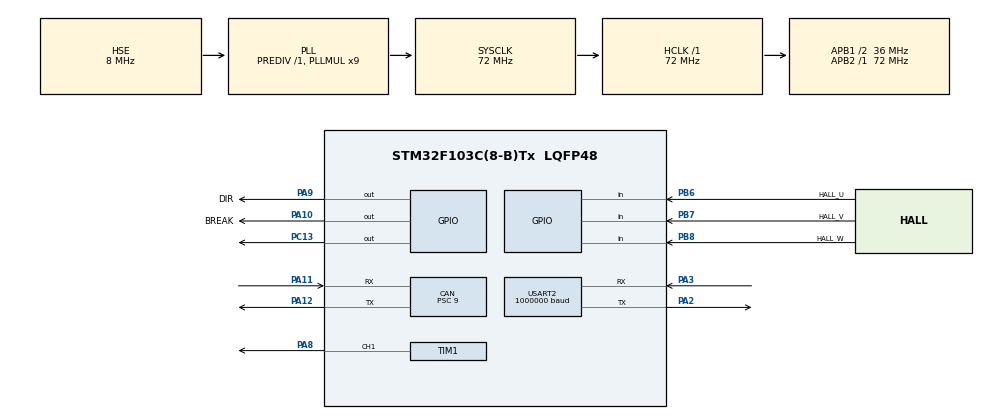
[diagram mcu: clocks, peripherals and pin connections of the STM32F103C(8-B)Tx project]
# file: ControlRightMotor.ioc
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CAN.ABOM=DISABLE
CAN.AWUM=DISABLE
CAN.BS1=CAN_BS1_2TQ
CAN.CalculateBaudRate=1000000
CAN.CalculateTimeBit=1000
CAN.CalculateTimeQuantum=250.0
CAN.Prescaler=9
Dma.Request0=USART2_RX
Dma.Request1=USART2_TX
Dma.USART2_RX.0.Direction=DMA_PERIPH_TO_MEMORY
Dma.USART2_RX.0.Instance=DMA1_Channel6
Dma.USART2_RX.0.MemDataAlignment=DMA_MDATAALIGN_BYTE
Dma.USART2_RX.0.MemInc=DMA_MINC_ENABLE
Dma.USART2_RX.0.Mode=DMA_NORMAL
Dma.USART2_RX.0.PeriphDataAlignment=DMA_PDATAALIGN_BYTE
Dma.USART2_RX.0.PeriphInc=DMA_PINC_DISABLE
Dma.USART2_RX.0.Priority=DMA_PRIORITY_MEDIUM
Dma.USART2_TX.1.Direction=DMA_MEMORY_TO_PERIPH
Dma.USART2_TX.1.Instance=DMA1_Channel7
Dma.USART2_TX.1.MemDataAlignment=DMA_MDATAALIGN_BYTE
Dma.USART2_TX.1.MemInc=DMA_MINC_ENABLE
Dma.USART2_TX.1.Mode=DMA_NORMAL
Dma.USART2_TX.1.PeriphDataAlignment=DMA_PDATAALIGN_BYTE
Dma.USART2_TX.1.PeriphInc=DMA_PINC_DISABLE
Dma.USART2_TX.1.Priority=DMA_PRIORITY_HIGH
FREERTOS.Tasks01=defaultTask,24,128,StartDefaultTask,Default,NULL,Dynamic,NULL,NULL;TaskReceiveCAN,48,128,ReceiveCAN,Default,NULL,Dynamic,NULL,NULL;TaskMControl,24,128,MotorControl,Default,NULL,Dynamic,NULL,NULL;TaskReadHall,48,128,ReadHall,Default,NULL,Dynamic,NULL,NULL
Mcu.Family=STM32F1
Mcu.Name=STM32F103C(8-B)Tx
Mcu.Package=LQFP48
NVIC.DMA1_Channel6_IRQn=true\:5\:0\:false\:false\:true\:true\:false\:true\:true
NVIC.DMA1_Channel7_IRQn=true\:5\:0\:false\:false\:true\:true\:false\:true\:true
NVIC.PriorityGroup=NVIC_PRIORITYGROUP_4
NVIC.USART2_IRQn=true\:5\:0\:false\:false\:true\:true\:true\:true\:true
NVIC.USB_LP_CAN1_RX0_IRQn=true\:5\:0\:false\:false\:true\:true\:true\:true\:true
PA10.GPIO_Label=BREAK
PA10.GPIO_Speed=GPIO_SPEED_FREQ_HIGH
PA10.PinState=GPIO_PIN_SET
PA10.Signal=GPIO_Output
PA11.GPIO_PuPd=GPIO_PULLUP
PA11.Mode=CAN_Activate
PA11.Signal=CAN_RX
PA12.Mode=CAN_Activate
PA12.Signal=CAN_TX
PA13.Mode=Serial_Wire
PA13.Signal=SYS_JTMS-SWDIO
PA14.Mode=Serial_Wire
PA14.Signal=SYS_JTCK-SWCLK
PA2.Mode=Asynchronous
PA2.Signal=USART2_TX
PA3.Mode=Asynchronous
PA3.Signal=USART2_RX
PA8.Signal=S_TIM1_CH1
PA9.GPIO_Label=DIR
PA9.GPIO_Speed=GPIO_SPEED_FREQ_HIGH
PA9.PinState=GPIO_PIN_RESET
PA9.Signal=GPIO_Output
PB6.GPIO_Label=HALL_U
PB6.GPIO_PuPd=GPIO_PULLUP
PB6.Signal=GPIO_Input
PB7.GPIO_Label=HALL_V
PB7.GPIO_PuPd=GPIO_PULLUP
PB7.Signal=GPIO_Input
PB8.GPIO_Label=HALL_W
PB8.GPIO_PuPd=GPIO_PULLUP
PB8.Signal=GPIO_Input
PC13-TAMPER-RTC.Signal=GPIO_Output
PD0-OSC_IN.Mode=HSE-External-Oscillator
PD0-OSC_IN.Signal=RCC_OSC_IN
PD1-OSC_OUT.Mode=HSE-External-Oscillator
PD1-OSC_OUT.Signal=RCC_OSC_OUT
ProjectManager.HeapSize=0x200
ProjectManager.StackSize=0x400
ProjectManager.TargetToolchain=MDK-ARM V5.32
RCC.AHBFreq_Value=72000000
RCC.APB1CLKDivider=RCC_HCLK_DIV2
RCC.APB1Freq_Value=36000000
RCC.APB1TimFreq_Value=72000000
RCC.APB2Freq_Value=72000000
RCC.APB2TimFreq_Value=72000000
RCC.HCLKFreq_Value=72000000
RCC.PLLMUL=RCC_PLL_MUL9
RCC.PLLSourceVirtual=RCC_PLLSOURCE_HSE
RCC.SYSCLKFreq_VALUE=72000000
RCC.SYSCLKSource=RCC_SYSCLKSOURCE_PLLCLK
RCC.USBFreq_Value=72000000
SH.S_TIM1_CH1.0=TIM1_CH1,PWM Generation1 CH1
TIM1.Channel-PWM\ Generation1\ CH1=TIM_CHANNEL_1
TIM1.Period=1000-1
TIM1.Prescaler=1800-1
USART2.BaudRate=1000000
USART2.VirtualMode=VM_ASYNC
VP_FREERTOS_VS_CMSIS_V2.Mode=CMSIS_V2
VP_TIM1_VS_ClockSourceINT.Mode=Internal
board=custom

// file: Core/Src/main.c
/* USER CODE BEGIN Header */
/**
 ******************************************************************************
 * @file           : main.c
 * @brief          : Main program body
 ******************************************************************************
 * @attention
 *
 * Copyright (c) 2025 STMicroelectronics.
 * All rights reserved.
 *
 * This software is licensed under terms that can be found in the LICENSE file
 * in the root directory of this software component.
 * If no LICENSE file comes with this software, it is provided AS-IS.
 *
 ******************************************************************************
 */
/* USER CODE END Header */
#include "main.h"
#include "cmsis_os.h"

/* USER CODE BEGIN Includes */
#include "string.h"
#include "math.h"
#include "pid.h"
#include <stdlib.h>
#include "flashStorage.h"
/* USER CODE END Includes */

CAN_HandleTypeDef hcan;

TIM_HandleTypeDef htim1;

UART_HandleTypeDef huart2;
DMA_HandleTypeDef hdma_usart2_rx;
DMA_HandleTypeDef hdma_usart2_tx;

/* Definitions for defaultTask */
osThreadId_t defaultTaskHandle;
const osThreadAttr_t defaultTask_attributes = {
    .name = "defaultTask",
    .stack_size = 128 * 4,
    .priority = (osPriority_t)osPriorityNormal,
};
/* Definitions for TaskReceiveCAN */
osThreadId_t TaskReceiveCANHandle;
const osThreadAttr_t TaskReceiveCAN_attributes = {
    .name = "TaskReceiveCAN",
    .stack_size = 128 * 4,
    .priority = (osPriority_t)osPriorityRealtime,
};
/* Definitions for TaskMControl */
osThreadId_t TaskMControlHandle;
const osThreadAttr_t TaskMControl_attributes = {
    .name = "TaskMControl",
    .stack_size = 128 * 4,
    .priority = (osPriority_t)osPriorityNormal,
};
/* Definitions for TaskReadHall */
osThreadId_t TaskReadHallHandle;
const osThreadAttr_t TaskReadHall_attributes = {
    .name = "TaskReadHall",
    .stack_size = 128 * 4,
    .priority = (osPriority_t)osPriorityRealtime,
};
/* USER CODE BEGIN PV */

//------------------------------------
// PID
PID_t position_pid = {0};
PID_t speed_pid = {0};
PID_t pitch_pid = {0};
PID_t yaw_pid = {0};

#define CONTROL_DT 0.001f // 1 ms
#define MAX_SPEED_COMMAND 100.0f
#define JOYSTICK_DEADZONE 5.0f
//--------------------------------------
#define MAX_TILT_ANGLE 50.0f    // Góc nghiêng tối đa cho phép
#define MAX_MOVEMENT_TILT 15.0f // Góc nghiêng tối đa cho di chuyển
#define JOYSTICK_TO_TILT 0.15f  // Hệ số chuyển đổi joystick sang góc nghiêng
//--------------------------------------
#define MAX_GYRO_RATE 150.0f   // Giới hạn tốc độ góc tối đa
#define RECOVERY_KP_SCALE 0.7f // Hệ số giảm Kp khi phát hiện giật
#define RECOVERY_KD_SCALE 1.5f // Hệ số tăng Kd khi phát hiện giật
//--------------------------------------
#define BASE_PWM_FILTER_ALPHA 0.6f // Hệ số làm mượt cơ bản
#define FAST_PWM_FILTER_ALPHA 0.9f // Hệ số làm mượt khi góc lớn
#define ANGLE_THRESHOLD 5.0f       // Ngưỡng góc để thay đổi hệ số
#define MAX_PWM_CHANGE 50.0f       // Giới hạn thay đổi PWM mỗi chu kỳ
//-----------------------------------
#define MAX_PWM_OUTPUT 999.0f
#define COUNTS_PER_REV 90.0f         // 90 bước tương ứng 1 vòng quay
volatile float motorSpeedRPS = 0.0f; // tốc độ động cơ, revs per second
volatile float motorSpeedDPS = 0.0f; // tốc độ động cơ, degrees per second
//  == == PWM State == ==
float pwm_right_filtered = 0.0f;
// Cac bien toan cuc de luu trang thai hall sensor
volatile uint8_t currentState = 0;  // Trang thai hien tai cua hall sensor
volatile int8_t direction = 0;      // Huong quay cua dong co
volatile float positionOffset = 0;  // Vi tri offset
volatile uint8_t lastHallState = 0; // Trang thai hall sensor cu
volatile int32_t hallCounter = 0;   // dem so buoc (co dau: duong la quay thuan, am la quay nguoc)
float anglemotor = 0;               // Goc quay cua dong co
volatile uint8_t u = 0;
volatile uint8_t v = 0;
volatile uint8_t w = 0;
uint8_t checkrunFirtTime = 0; // Bien kiem tra lan dau doc Hall sensor
// CAN
uint8_t RxData[8] = {0};
volatile int16_t joyStickX = 0, joyStickY = 0;
CAN_RxHeaderTypeDef RxHeader;
volatile char *command = "";
// Flash danh dau PID da nhan du
typedef struct
{
  uint8_t hasKpKi;
  uint8_t hasKd;
} PID_Receive_Flags_t;
PID_Receive_Flags_t pidFlags[4] = {0}; // 0: pitch, 1: speed, 2: position, 3: yaw
// UART
#define RX_BUF_SIZE 128
uint8_t rxBuffer[RX_BUF_SIZE];
volatile uint16_t rxIndex = 0;
volatile float angleY = 0; // pitch
volatile float angleZ = 0; // yaw
volatile float gyroY = 0;  // Gy MPU6050 (don vi: deg/s)
volatile float gyroZ = 0;  // Gz

/* USER CODE END PV */

void SystemClock_Config(void);
static void MX_GPIO_Init(void);
static void MX_DMA_Init(void);
static void MX_CAN_Init(void);
static void MX_TIM1_Init(void);
static void MX_USART2_UART_Init(void);
void StartDefaultTask(void *argument);
void ReceiveCAN(void *argument);
void MotorControl(void *argument);
void ReadHall(void *argument);

/* USER CODE BEGIN PFP */
void updateMotors(float PWM);
void controlLoop(void);
// Ham doc trang thai hall sensor: ghep 3 tin hieu thanh 1 gia tri 3-bit
uint8_t readHallState(void);
// Ham xac dinh huong quay dua vao su chuyen doi trang thai
// Gia su cac trang thai hop le la: 101 (5), 100 (4), 110 (6), 010 (2), 011 (3), 001 (1)
// Forward sequence (quay thuan): 5 -> 4 -> 6 -> 2 -> 3 -> 1 -> 5...
// Reverse sequence (quay nguoc): 5 -> 1 -> 3 -> 2 -> 6 -> 4 -> 5...
int8_t getDirection(uint8_t last, uint8_t current);
// Ham tinh goc quay cua dong co
// Voi gia dinh: 45 bu?c (transition) tuong duong 1 vong quay => moi buoc = 8 do
float getMotorAngle(void);
// Ham nhan tin hieu CAN va xu ly CAN
void HAL_CAN_RxFifo0MsgPendingCallback(CAN_HandleTypeDef *hcan);
// ==== PWM Smoothing ====
float SmoothPWM(float prev, float target);
// ==== Clamp PWM Output ====
float ClampPWM(float pwm);
void ComputeMotorSpeed(void);
void process_packet(uint8_t *data, uint16_t length);
float custom_atof(const char *str);
void TryWritePIDToFlashIfReady(void);
/* USER CODE END PFP */

int main(void)
{

  /* MCU Configuration--------------------------------------------------------*/

  /* Reset of all peripherals, Initializes the Flash interface and the Systick. */
  HAL_Init();

  /* Configure the system clock */
  SystemClock_Config();

  /* Initialize all configured peripherals */
  MX_GPIO_Init();
  MX_DMA_Init();
  MX_CAN_Init();
  MX_TIM1_Init();
  MX_USART2_UART_Init();
  /* USER CODE BEGIN 2 */
  HAL_TIM_PWM_Start(&htim1, TIM_CHANNEL_1);

  // Doc thong so PID tu bo nho flash
  if (Flash_Read_PID(&position_pid, &speed_pid, &pitch_pid, &yaw_pid) != HAL_OK)
  {
    // Nếu chưa có dữ liệu hợp lệ thì dùng giá trị mặc định
    Flash_Load_Default_PID(&position_pid, &speed_pid, &pitch_pid, &yaw_pid);

    // Và ghi giá trị mặc định đó vào Flash
    Flash_Write_PID(&position_pid, &speed_pid, &pitch_pid, &yaw_pid);
  }

  // Bat yeu cau ngat khi du lieu CAN nhan ve duoc luu tru goi tin o FIFO1 khi dung ID
  if (HAL_CAN_Start(&hcan) != HAL_OK)
  {
    Error_Handler();
  }
  HAL_CAN_ActivateNotification(&hcan, CAN_IT_RX_FIFO0_MSG_PENDING);
  // Enable CAN RX interrupt
  HAL_NVIC_SetPriority(CAN1_RX0_IRQn, 5, 0);
  HAL_NVIC_EnableIRQ(CAN1_RX0_IRQn);
  // UART
  HAL_UART_Init(&huart2);
  HAL_UART_Receive_DMA(&huart2, rxBuffer, RX_BUF_SIZE);
  /* USER CODE END 2 */

  /* Init scheduler */
  osKernelInitialize();

  /* Create the thread(s) */
  /* creation of defaultTask */
  defaultTaskHandle = osThreadNew(StartDefaultTask, NULL, &defaultTask_attributes);

  /* creation of TaskReceiveCAN */
  TaskReceiveCANHandle = osThreadNew(ReceiveCAN, NULL, &TaskReceiveCAN_attributes);

  /* creation of TaskMControl */
  TaskMControlHandle = osThreadNew(MotorControl, NULL, &TaskMControl_attributes);

  /* creation of TaskReadHall */
  TaskReadHallHandle = osThreadNew(ReadHall, NULL, &TaskReadHall_attributes);

  /* Start scheduler */
  osKernelStart();

  /* We should never get here as control is now taken by the scheduler */

  /* Infinite loop */
  while (1)
  {

  }
}

void SystemClock_Config(void)
{
  RCC_OscInitTypeDef RCC_OscInitStruct = {0};
  RCC_ClkInitTypeDef RCC_ClkInitStruct = {0};

  /** Initializes the RCC Oscillators according to the specified parameters
   * in the RCC_OscInitTypeDef structure.
   */
  RCC_OscInitStruct.OscillatorType = RCC_OSCILLATORTYPE_HSE;
  RCC_OscInitStruct.HSEState = RCC_HSE_ON;
  RCC_OscInitStruct.HSEPredivValue = RCC_HSE_PREDIV_DIV1;
  RCC_OscInitStruct.HSIState = RCC_HSI_ON;
  RCC_OscInitStruct.PLL.PLLState = RCC_PLL_ON;
  RCC_OscInitStruct.PLL.PLLSource = RCC_PLLSOURCE_HSE;
  RCC_OscInitStruct.PLL.PLLMUL = RCC_PLL_MUL9;
  if (HAL_RCC_OscConfig(&RCC_OscInitStruct) != HAL_OK)
  {
    Error_Handler();
  }

  /** Initializes the CPU, AHB and APB buses clocks
   */
  RCC_ClkInitStruct.ClockType = RCC_CLOCKTYPE_HCLK | RCC_CLOCKTYPE_SYSCLK | RCC_CLOCKTYPE_PCLK1 | RCC_CLOCKTYPE_PCLK2;
  RCC_ClkInitStruct.SYSCLKSource = RCC_SYSCLKSOURCE_PLLCLK;
  RCC_ClkInitStruct.AHBCLKDivider = RCC_SYSCLK_DIV1;
  RCC_ClkInitStruct.APB1CLKDivider = RCC_HCLK_DIV2;
  RCC_ClkInitStruct.APB2CLKDivider = RCC_HCLK_DIV1;

  if (HAL_RCC_ClockConfig(&RCC_ClkInitStruct, FLASH_LATENCY_2) != HAL_OK)
  {
    Error_Handler();
  }
}

static void MX_CAN_Init(void)
{

  hcan.Instance = CAN1;
  hcan.Init.Prescaler = 9;
  hcan.Init.Mode = CAN_MODE_NORMAL;
  hcan.Init.SyncJumpWidth = CAN_SJW_1TQ;
  hcan.Init.TimeSeg1 = CAN_BS1_2TQ;
  hcan.Init.TimeSeg2 = CAN_BS2_1TQ;
  hcan.Init.TimeTriggeredMode = DISABLE;
  hcan.Init.AutoBusOff = DISABLE;
  hcan.Init.AutoWakeUp = DISABLE;
  hcan.Init.AutoRetransmission = DISABLE;
  hcan.Init.ReceiveFifoLocked = DISABLE;
  hcan.Init.TransmitFifoPriority = DISABLE;
  if (HAL_CAN_Init(&hcan) != HAL_OK)
  {
    Error_Handler();
  }
  /* USER CODE BEGIN CAN_Init 2 */
  CAN_FilterTypeDef canfilterconfig;

  canfilterconfig.FilterActivation = CAN_FILTER_ENABLE;
  canfilterconfig.FilterBank = 0;
  canfilterconfig.FilterFIFOAssignment = CAN_RX_FIFO0;
  canfilterconfig.FilterIdHigh = 0x0000 << 5; // Chap nhan tat ca cac ID
  canfilterconfig.FilterIdLow = 0x0000;
  canfilterconfig.FilterMaskIdHigh = 0x0000 << 5; // Chap nhan tat ca cac ID
  canfilterconfig.FilterMaskIdLow = 0x0000;
  canfilterconfig.FilterMode = CAN_FILTERMODE_IDMASK;
  canfilterconfig.FilterScale = CAN_FILTERSCALE_32BIT;
  canfilterconfig.SlaveStartFilterBank = 0;

  HAL_CAN_ConfigFilter(&hcan, &canfilterconfig);
  HAL_NVIC_SetPriority(CAN1_RX0_IRQn, 0, 0);
  HAL_NVIC_EnableIRQ(CAN1_RX0_IRQn);
  /* USER CODE END CAN_Init 2 */
}

static void MX_TIM1_Init(void)
{

  TIM_ClockConfigTypeDef sClockSourceConfig = {0};
  TIM_MasterConfigTypeDef sMasterConfig = {0};
  TIM_OC_InitTypeDef sConfigOC = {0};
  TIM_BreakDeadTimeConfigTypeDef sBreakDeadTimeConfig = {0};

  htim1.Instance = TIM1;
  htim1.Init.Prescaler = 1800 - 1;
  htim1.Init.CounterMode = TIM_COUNTERMODE_UP;
  htim1.Init.Period = 1000 - 1;
  htim1.Init.ClockDivision = TIM_CLOCKDIVISION_DIV1;
  htim1.Init.RepetitionCounter = 0;
  htim1.Init.AutoReloadPreload = TIM_AUTORELOAD_PRELOAD_DISABLE;
  if (HAL_TIM_Base_Init(&htim1) != HAL_OK)
  {
    Error_Handler();
  }
  sClockSourceConfig.ClockSource = TIM_CLOCKSOURCE_INTERNAL;
  if (HAL_TIM_ConfigClockSource(&htim1, &sClockSourceConfig) != HAL_OK)
  {
    Error_Handler();
  }
  if (HAL_TIM_PWM_Init(&htim1) != HAL_OK)
  {
    Error_Handler();
  }
  sMasterConfig.MasterOutputTrigger = TIM_TRGO_RESET;
  sMasterConfig.MasterSlaveMode = TIM_MASTERSLAVEMODE_DISABLE;
  if (HAL_TIMEx_MasterConfigSynchronization(&htim1, &sMasterConfig) != HAL_OK)
  {
    Error_Handler();
  }
  sConfigOC.OCMode = TIM_OCMODE_PWM1;
  sConfigOC.Pulse = 0;
  sConfigOC.OCPolarity = TIM_OCPOLARITY_HIGH;
  sConfigOC.OCNPolarity = TIM_OCNPOLARITY_HIGH;
  sConfigOC.OCFastMode = TIM_OCFAST_DISABLE;
  sConfigOC.OCIdleState = TIM_OCIDLESTATE_RESET;
  sConfigOC.OCNIdleState = TIM_OCNIDLESTATE_RESET;
  if (HAL_TIM_PWM_ConfigChannel(&htim1, &sConfigOC, TIM_CHANNEL_1) != HAL_OK)
  {
    Error_Handler();
  }
  sBreakDeadTimeConfig.OffStateRunMode = TIM_OSSR_DISABLE;
  sBreakDeadTimeConfig.OffStateIDLEMode = TIM_OSSI_DISABLE;
  sBreakDeadTimeConfig.LockLevel = TIM_LOCKLEVEL_OFF;
  sBreakDeadTimeConfig.DeadTime = 0;
  sBreakDeadTimeConfig.BreakState = TIM_BREAK_DISABLE;
  sBreakDeadTimeConfig.BreakPolarity = TIM_BREAKPOLARITY_HIGH;
  sBreakDeadTimeConfig.AutomaticOutput = TIM_AUTOMATICOUTPUT_DISABLE;
  if (HAL_TIMEx_ConfigBreakDeadTime(&htim1, &sBreakDeadTimeConfig) != HAL_OK)
  {
    Error_Handler();
  }
  HAL_TIM_MspPostInit(&htim1);
}

static void MX_USART2_UART_Init(void)
{

  huart2.Instance = USART2;
  huart2.Init.BaudRate = 1000000;
  huart2.Init.WordLength = UART_WORDLENGTH_8B;
  huart2.Init.StopBits = UART_STOPBITS_1;
  huart2.Init.Parity = UART_PARITY_NONE;
  huart2.Init.Mode = UART_MODE_TX_RX;
  huart2.Init.HwFlowCtl = UART_HWCONTROL_NONE;
  huart2.Init.OverSampling = UART_OVERSAMPLING_16;
  if (HAL_UART_Init(&huart2) != HAL_OK)
  {
    Error_Handler();
  }
}

static void MX_DMA_Init(void)
{

  /* DMA controller clock enable */
  __HAL_RCC_DMA1_CLK_ENABLE();

  /* DMA interrupt init */
  /* DMA1_Channel6_IRQn interrupt configuration */
  HAL_NVIC_SetPriority(DMA1_Channel6_IRQn, 5, 0);
  HAL_NVIC_EnableIRQ(DMA1_Channel6_IRQn);
  /* DMA1_Channel7_IRQn interrupt configuration */
  HAL_NVIC_SetPriority(DMA1_Channel7_IRQn, 5, 0);
  HAL_NVIC_EnableIRQ(DMA1_Channel7_IRQn);
}

static void MX_GPIO_Init(void)
{
  GPIO_InitTypeDef GPIO_InitStruct = {0};

  /* GPIO Ports Clock Enable */
  __HAL_RCC_GPIOC_CLK_ENABLE();
  __HAL_RCC_GPIOD_CLK_ENABLE();
  __HAL_RCC_GPIOA_CLK_ENABLE();
  __HAL_RCC_GPIOB_CLK_ENABLE();

  /*Configure GPIO pin Output Level */
  HAL_GPIO_WritePin(GPIOC, GPIO_PIN_13, GPIO_PIN_RESET);

  /*Configure GPIO pin Output Level */
  HAL_GPIO_WritePin(DIR_GPIO_Port, DIR_Pin, GPIO_PIN_RESET);

  /*Configure GPIO pin Output Level */
  HAL_GPIO_WritePin(BREAK_GPIO_Port, BREAK_Pin, GPIO_PIN_SET);

  /*Configure GPIO pin : PC13 */
  GPIO_InitStruct.Pin = GPIO_PIN_13;
  GPIO_InitStruct.Mode = GPIO_MODE_OUTPUT_PP;
  GPIO_InitStruct.Pull = GPIO_NOPULL;
  GPIO_InitStruct.Speed = GPIO_SPEED_FREQ_LOW;
  HAL_GPIO_Init(GPIOC, &GPIO_InitStruct);

  /*Configure GPIO pins : DIR_Pin BREAK_Pin */
  GPIO_InitStruct.Pin = DIR_Pin | BREAK_Pin;
  GPIO_InitStruct.Mode = GPIO_MODE_OUTPUT_PP;
  GPIO_InitStruct.Pull = GPIO_NOPULL;
  GPIO_InitStruct.Speed = GPIO_SPEED_FREQ_HIGH;
  HAL_GPIO_Init(GPIOA, &GPIO_InitStruct);

  /*Configure GPIO pins : HALL_U_Pin HALL_V_Pin HALL_W_Pin */
  GPIO_InitStruct.Pin = HALL_U_Pin | HALL_V_Pin | HALL_W_Pin;
  GPIO_InitStruct.Mode = GPIO_MODE_INPUT;
  GPIO_InitStruct.Pull = GPIO_PULLUP;
  HAL_GPIO_Init(GPIOB, &GPIO_InitStruct);

}

/* USER CODE BEGIN 4 */
//------------------------------------------------------------------
// Ham xu ly tin hieu CAN
void HAL_CAN_RxFifo0MsgPendingCallback(CAN_HandleTypeDef *hcan)
{
  int16_t rawjoyStickX = 0;
  int16_t rawjoyStickY = 0;
  if (HAL_CAN_GetRxMessage(hcan, CAN_RX_FIFO0, &RxHeader, RxData) == HAL_OK)
  {
    switch (RxHeader.StdId)
    {
    case 0x447: // Nhan gia tri joystick X
      rawjoyStickX = RxData[0] ? (((int16_t)RxData[1] << 8) | RxData[2]) : -(((int16_t)RxData[1] << 8) | RxData[2]);
      joyStickX = (rawjoyStickX > 100 || rawjoyStickX < -100) ? 0 : rawjoyStickX;
      break;
    case 0x448: // Nhan gia tri joystick Y
      rawjoyStickY = RxData[0] ? (((int16_t)RxData[1] << 8) | RxData[2]) : -(((int16_t)RxData[1] << 8) | RxData[2]);
      joyStickY = (rawjoyStickY > 100 || rawjoyStickY < -100) ? 0 : rawjoyStickY;
      break;
    case 0x500: // Pitch Kp/Ki
      memcpy(&pitch_pid.Kp, &RxData[0], sizeof(float));
      memcpy(&pitch_pid.Ki, &RxData[4], sizeof(float));
      pidFlags[0].hasKpKi = 1;
      TryWritePIDToFlashIfReady();
      break;

    case 0x501: // Speed Kp/Ki
      memcpy(&speed_pid.Kp, &RxData[0], sizeof(float));
      memcpy(&speed_pid.Ki, &RxData[4], sizeof(float));
      pidFlags[1].hasKpKi = 1;
      TryWritePIDToFlashIfReady();
      break;

    case 0x502: // Position Kp/Ki
      memcpy(&position_pid.Kp, &RxData[0], sizeof(float));
      memcpy(&position_pid.Ki, &RxData[4], sizeof(float));
      pidFlags[2].hasKpKi = 1;
      TryWritePIDToFlashIfReady();
      break;

    case 0x503: // Yaw Kp/Ki
      memcpy(&yaw_pid.Kp, &RxData[0], sizeof(float));
      memcpy(&yaw_pid.Ki, &RxData[4], sizeof(float));
      pidFlags[3].hasKpKi = 1;
      TryWritePIDToFlashIfReady();
      break;

    case 0x510: // Pitch Kd
      memcpy(&pitch_pid.Kd, &RxData[0], sizeof(float));
      pidFlags[0].hasKd = 1;
      TryWritePIDToFlashIfReady();
      break;

    case 0x511: // Speed Kd
      memcpy(&speed_pid.Kd, &RxData[0], sizeof(float));
      pidFlags[1].hasKd = 1;
      TryWritePIDToFlashIfReady();
      break;

    case 0x512: // Position Kd
      memcpy(&position_pid.Kd, &RxData[0], sizeof(float));
      pidFlags[2].hasKd = 1;
      TryWritePIDToFlashIfReady();
      break;

    case 0x513: // Yaw Kd
      memcpy(&yaw_pid.Kd, &RxData[0], sizeof(float));
      pidFlags[3].hasKd = 1;
      TryWritePIDToFlashIfReady();
      break;
    default:
      Error_Handler();
      break;
    }
  }
  else
  {
    Error_Handler();
  }
}

void TryWritePIDToFlashIfReady(void)
{
  for (int i = 0; i < 4; i++)
  {
    if (!pidFlags[i].hasKpKi || !pidFlags[i].hasKd)
      return; // chưa đủ dữ liệu
  }

  // Đã nhận đủ Kp Ki Kd cho cả 4 bộ
  Flash_Write_PID(&position_pid, &speed_pid, &pitch_pid, &yaw_pid);

  // Reset lại cờ
  for (int i = 0; i < 4; i++)
  {
    pidFlags[i].hasKpKi = 0;
    pidFlags[i].hasKd = 0;
  }
}

//void HAL_UART_RxCpltCallback(UART_HandleTypeDef *huart)
//{
//  if (huart->Instance == USART2)
//  {
//    for (uint16_t i = 0; i < RX_BUF_SIZE; i++)
//    {
//      if (rxBuffer[i] == '\n')
//      {
//        process_packet(rxBuffer, i);

//        // Dời phần còn lại
//        uint16_t remaining = RX_BUF_SIZE - i - 1;
//        memmove(rxBuffer, rxBuffer + i + 1, remaining);
//        rxIndex = remaining;

//        // Khởi động lại DMA
//        HAL_UART_Receive_DMA(&huart2, rxBuffer + rxIndex, RX_BUF_SIZE - rxIndex);
//        return;
//      }
//    }

//    // Nếu không tìm thấy '\n', giữ nguyên rxIndex
//    // Khởi động lại DMA từ rxIndex
//    if (rxIndex < RX_BUF_SIZE)
//    {
//      HAL_UART_Receive_DMA(&huart2, rxBuffer + rxIndex, RX_BUF_SIZE - rxIndex);
//    }
//  }
//}

//void USART2_IRQHandler(void)
//{
//  /* USER CODE BEGIN USART2_IRQn 0 */

//  /* USER CODE END USART2_IRQn 0 */
//  HAL_UART_IRQHandler(&huart2);
//  /* USER CODE BEGIN USART2_IRQn 1 */
//  if (__HAL_UART_GET_FLAG(&huart2, UART_FLAG_IDLE))
//  {
//    __HAL_UART_CLEAR_IDLEFLAG(&huart2);

//    // Số byte đã nhận được = buffer size - số byte còn lại
//    uint16_t len = RX_BUF_SIZE - __HAL_DMA_GET_COUNTER(huart2.hdmarx);

//    // Ngắt DMA để xử lý
//    HAL_UART_DMAStop(&huart2);

//    // Gọi xử lý packet
//    process_packet(rxBuffer, len);

//    // Bắt đầu lại DMA
//    HAL_UART_Receive_DMA(&huart2, rxBuffer, RX_BUF_SIZE);
//  }
//  /* USER CODE END USART2_IRQn 1 */
//}

float custom_atof(const char *str)
{
  float value = 0.0f;
  float sign = 1.0f;
  float fraction_factor = 0.1f;
  uint8_t decimal_found = 0;

  // Xử lý dấu âm
  if (*str == '-')
  {
    sign = -1.0f;
    str++;
  }

  while (*str)
  {
    if (*str == '.')
    {
      decimal_found = 1;
    }
    else if (*str >= '0' && *str <= '9')
    {
      if (!decimal_found)
      {
        value = value * 10.0f + (*str - '0');
      }
      else
      {
        value += (*str - '0') * fraction_factor;
        fraction_factor *= 0.1f;
      }
    }
    else if (*str == ',' || *str == '\n')
    {
      break;
    }
    str++;
  }

  return sign * value;
}

void process_packet(uint8_t *data, uint16_t length)
{
  // Đảm bảo kết thúc chuỗi
  if (length >= RX_BUF_SIZE)
    length = RX_BUF_SIZE - 1;
  data[length] = '\0'; // NULL termination để dùng strtok

  float ay = 0, az = 0, gy = 0, gz = 0;
  char *token = strtok((char *)data, ",");

  while (token)
  {
    if (strncmp(token, "ay:", 3) == 0)
      ay = custom_atof(token + 3);
    else if (strncmp(token, "az:", 3) == 0)
      az = custom_atof(token + 3);
    else if (strncmp(token, "gy:", 3) == 0)
      gy = custom_atof(token + 3);
    else if (strncmp(token, "gz:", 3) == 0)
      gz = custom_atof(token + 3);

    token = strtok(NULL, ",");
  }

  // Lưu giá trị hoặc xử lý tiếp
  angleY = ay;
  angleZ = az;
  gyroY = gy;
  gyroZ = gz;
}

// Ham cap nhat PWM cho dong co
void updateMotors(float PWM)
{
  float target_abs_pwm = fminf(fabsf(PWM), MAX_PWM_OUTPUT);
  if (target_abs_pwm >= -1 && target_abs_pwm <= 1)
  {
    HAL_GPIO_WritePin(BREAK_GPIO_Port, BREAK_Pin, GPIO_PIN_SET);
  }
  else
  {
    HAL_GPIO_WritePin(BREAK_GPIO_Port, BREAK_Pin, GPIO_PIN_RESET);
    HAL_GPIO_WritePin(DIR_GPIO_Port, DIR_Pin, PWM > 0 ? GPIO_PIN_RESET : GPIO_PIN_SET);
    __HAL_TIM_SET_COMPARE(&htim1, TIM_CHANNEL_1, (uint32_t)fabsf(target_abs_pwm));
  }
}
// Ham doc trang thai hall sensor
uint8_t readHallState(void)
{
  // Doc trang thai hall sensor
  // Ghep 3 trang thai thanh 1 gia tri 3-bit
  u = HAL_GPIO_ReadPin(HALL_U_GPIO_Port, HALL_U_Pin);
  v = HAL_GPIO_ReadPin(HALL_V_GPIO_Port, HALL_V_Pin);
  w = HAL_GPIO_ReadPin(HALL_W_GPIO_Port, HALL_W_Pin);
  return (u << 2) | (v << 1) | w;
}
// Ham xac dinh huong quay dua vao su chuyen doi trang thai
int8_t getDirection(uint8_t last, uint8_t current)
{
  // Bang chuyen doi trang thai hop le
  // Gia su cac trang thai hop le la: 101 (5), 100 (4), 110 (6), 010 (2), 011 (3), 001 (1)
  const uint8_t validTransitions[12][2] = {
      {5, 4}, {4, 6}, {6, 2}, {2, 3}, {3, 1}, {1, 5}, // Forward
      {5, 1},
      {1, 3},
      {3, 2},
      {2, 6},
      {6, 4},
      {4, 5} // Reverse
  };
  for (int i = 0; i < 12; i++)
  {
    if (last == validTransitions[i][0] && current == validTransitions[i][1])
    {
      return (i < 6) ? 1 : -1;
    }
  }
  return 0; // Trang thai khong hop le
  //	return current!= last ? 1:0;
}
// Ham tinh goc quay cua dong co
float getMotorAngle(void)
{
  return ((float)hallCounter / 90.0f) * 360.0f; // Hoac: hallCounter * 8.0f;
}

// Ham gioi han PWM
float ClampPWM(float pwm)
{
  if (pwm > MAX_PWM_OUTPUT)
    return MAX_PWM_OUTPUT;
  if (pwm < -MAX_PWM_OUTPUT)
    return -MAX_PWM_OUTPUT;
  return pwm;
}
// Ham lam muot PWM
float SmoothPWM(float prev, float target)
{
  float currentAngle = angleY;
  float currentGyro = gyroY;
  float alpha = 0;
  float max_change = 0;

  // Điều chỉnh giới hạn thay đổi PWM theo góc nghiêng
  if (fabsf(currentAngle) > 30.0f)
  {
    max_change = MAX_PWM_CHANGE * 4.0f; // Tăng giới hạn nhiều hơn
    alpha = 1.0f;                       // Không làm mượt ở góc lớn
  }
  else if (fabsf(currentAngle) > 15.0f)
  {
    max_change = MAX_PWM_CHANGE * 3.0f;
    alpha = FAST_PWM_FILTER_ALPHA;
  }
  else if (fabsf(currentAngle) > 5.0f)
  {
    max_change = MAX_PWM_CHANGE * 2.0f;
    alpha = (BASE_PWM_FILTER_ALPHA + FAST_PWM_FILTER_ALPHA) / 2;
  }
  else
  {
    max_change = MAX_PWM_CHANGE;
    alpha = BASE_PWM_FILTER_ALPHA;
  }

  float delta = target - prev;
  if (delta > max_change)
    delta = max_change;
  if (delta < -max_change)
    delta = -max_change;

  return prev + alpha * delta;
}
// Ham tinh toan toc do dong co
void ComputeMotorSpeed(void)
{
  static int32_t lastHallCount = 0;
  int32_t deltaCount = hallCounter - lastHallCount;

  // 1) Tính rev/s (revolutions per second)
  motorSpeedRPS = (deltaCount / COUNTS_PER_REV) / CONTROL_DT;

  // 2) Nếu muốn độ/giây (degrees per second)
  motorSpeedDPS = (deltaCount * 360.0f / COUNTS_PER_REV) / CONTROL_DT;

  // Cập nhật cho lần sau
  lastHallCount = hallCounter;
}
// Hàm điều khiển chính
void controlLoop(void)
{
  float currentAngle = angleY;
  float currentGyro = gyroY;
  ComputeMotorSpeed();

  // Kiểm tra góc an toàn
  if (fabsf(currentAngle) < MAX_TILT_ANGLE)
  {
    float speed_cmd = 0;   // Tốc độ mong muốn từ PID tốc độ
    float balance_cmd = 0; // Moment cân bằng từ PID góc
    float pwm_output = 0;  // PWM cuối cùng

    static int32_t initialPosition = 0;
    static uint8_t isHolding = 0;
    static uint8_t isInitialized = 0;
    int32_t currentSpeed = motorSpeedRPS * COUNTS_PER_REV;

    // 1. Điều khiển vị trí (tầng ngoài nhất)
    if (fabsf((float_t)joyStickY) > JOYSTICK_DEADZONE)
    {
      // Chế độ điều khiển tốc độ từ joystick
      float velocity_target = (joyStickY / 100.0f) * MAX_SPEED_COMMAND;
      speed_cmd = PID_Compute(&speed_pid, velocity_target, currentSpeed, CONTROL_DT);
      isHolding = 0;
      isInitialized = 0;
    }
    else if (fabsf(currentAngle) < 15.0f)
    {
      // Chế độ giữ vị trí
      if (!isInitialized)
      {
        initialPosition = hallCounter;
        isInitialized = 1;
        isHolding = 1;
        PID_Reset(&position_pid);
        PID_Reset(&speed_pid);
      }

      if (isHolding)
      {
        // PID vị trí -> tốc độ mong muốn
        float position_cmd = PID_Compute(&position_pid, initialPosition, hallCounter, CONTROL_DT);
        position_cmd = fminf(fmaxf(position_cmd, -30.0f), 30.0f);

        // PID tốc độ -> moment cần thiết
        speed_cmd = PID_Compute(&speed_pid, position_cmd, currentSpeed, CONTROL_DT);
        speed_cmd = fminf(fmaxf(speed_cmd, -30.0f), 30.0f);
      }
    }

    // 2. Điều khiển cân bằng (tầng trong cùng)
    float base_Kp = pitch_pid.Kp;
    float base_Kd = pitch_pid.Kd;
    float Kp = base_Kp;
    float Kd = base_Kd;

    // Điều chỉnh hệ số theo góc nghiêng
    if (fabsf(currentAngle) > 20.0f)
    {
      Kp = base_Kp * 1.5f; // Tăng mạnh khi góc lớn
      Kd = base_Kd * 1.3f;
    }
    else if (fabsf(currentAngle) > 10.0f)
    {
      Kp = base_Kp * 1.2f;
      Kd = base_Kd * 1.1f;
    }
    else if (fabsf(currentAngle) < 5.0f)
    {
      Kp = base_Kp * 0.8f; // Giảm khi gần cân bằng
      Kd = base_Kd * 1.2f;
    }

    // Xử lý chuyển động đột ngột
    if (fabsf(currentGyro) > MAX_GYRO_RATE)
    {
      Kp *= RECOVERY_KP_SCALE;
      Kd *= RECOVERY_KD_SCALE;
    }

    // Tính toán moment cân bằng
    float target_angle = 0;
    if (fabsf((float_t)joyStickY) > JOYSTICK_DEADZONE)
    {
      target_angle = -(joyStickY / 100.0f) * MAX_MOVEMENT_TILT;
    }
    float angleError = currentAngle - target_angle;
    balance_cmd = Kp * angleError + Kd * currentGyro;

    // 3. Tổng hợp các thành phần điều khiển
    float balance_weight = 1.0f;
    float speed_weight = 0.3f;
    pwm_output = balance_weight * balance_cmd + speed_weight * speed_cmd;

    // 4. Xử lý quay (turning)
    if (fabsf((float_t)joyStickX) <= 100)
    {
      float base_turn_power = 200.0f;
      float angle_factor = 1.0f - (fabsf(currentAngle) / MAX_TILT_ANGLE);
      float turn_cmd = (joyStickX / 100.0f) * base_turn_power * angle_factor;
      pwm_output += turn_cmd;
    }

    // 5. Giới hạn và làm mượt PWM
    pwm_output = ClampPWM(pwm_output);
    pwm_right_filtered = SmoothPWM(pwm_right_filtered, pwm_output);
    pwm_right_filtered = ClampPWM(pwm_right_filtered);

    // 6. Xuất PWM ra động cơ
    updateMotors(pwm_right_filtered);
  }
  else
  {
    // Dừng động cơ khi vượt quá góc an toàn
    updateMotors(0);
    pwm_right_filtered = 0;
  }
}
/* USER CODE END 4 */

void StartDefaultTask(void *argument)
{
  for (;;)
  {
    osDelay(1);
  }
}

void ReceiveCAN(void *argument)
{
  for (;;)
  {
    osDelay(1);
  }
}

void MotorControl(void *argument)
{
  /* USER CODE BEGIN MotorControl */
  /* Infinite loop */
  for (;;)
  {
    controlLoop();
    osDelay(2);
  }
  /* USER CODE END MotorControl */
}

void ReadHall(void *argument)
{
  /* USER CODE BEGIN ReadHall */
  /* Infinite loop */
  for (;;)
  {
    // Doc trang thai hall sensor
    currentState = readHallState();
    if (checkrunFirtTime == 0)
    {
      lastHallState = currentState;
      checkrunFirtTime = 1;
    }
    else
      direction = getDirection(lastHallState, currentState);
    if (direction != 0)
    {
      hallCounter -= direction;
      lastHallState = currentState;
    }
    // Cap nhat vi tri dong co
    positionOffset = getMotorAngle(); // Gia tri do duoc tu hall sensor
                                      // Tinh sai so vi tri
    osDelay(1);
  }
  /* USER CODE END ReadHall */
}

void Error_Handler(void)
{
  __disable_irq();
  while (1)
  {
  }
}
